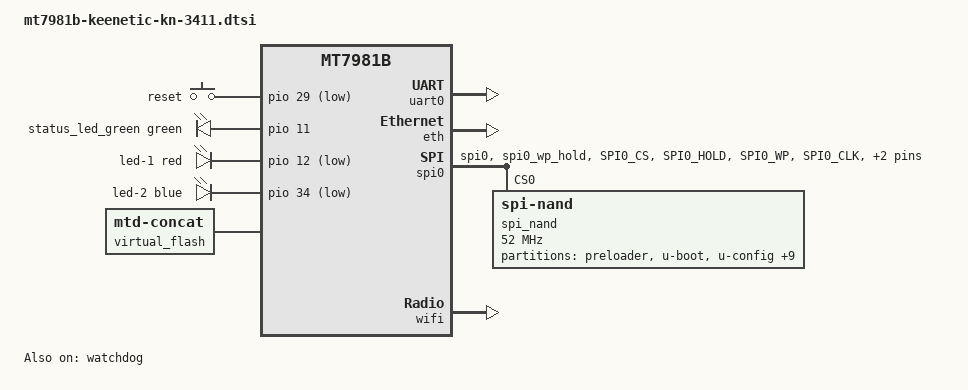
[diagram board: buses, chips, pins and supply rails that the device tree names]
// SPDX-License-Identifier: GPL-2.0-only OR MIT

/dts-v1/;

#include "mt7981b.dtsi"

/ {
	aliases {
		label-mac-device = &gmac1;
		led-boot = &status_led_green;
		led-failsafe = &status_led_green;
		led-running = &status_led_green;
		led-upgrade = &status_led_green;
		serial0 = &uart0;
	};

	chosen {
		stdout-path = "serial0:115200n8";
	};

	gpio-keys {
		compatible = "gpio-keys";

		button-reset {
			label = "reset";
			linux,code = <KEY_RESTART>;
			gpios = <&pio 29 GPIO_ACTIVE_LOW>;
		};
	};

	/*
	 * LED and button GPIOs verified on a KN-3411 (Buddy 6) over the serial
	 * console: each LED lit in its labelled colour when toggled, pressing
	 * the reset button on GPIO 29 (KEY_RESTART) rebooted the board, and the
	 * factory MAC matched. The vendor firmware ships no board GPIO map - the
	 * Keenetic "phr" driver reads a /phr-pins node that U-Boot injects at
	 * runtime from a per-unit NAND partition - so this had to be confirmed
	 * on hardware rather than read out of any firmware image.
	 */
	gpio-leds {
		compatible = "gpio-leds";

		status_led_green: led-0 {
			color = <LED_COLOR_ID_GREEN>;
			function = LED_FUNCTION_STATUS;
			gpios = <&pio 11 GPIO_ACTIVE_HIGH>;
		};

		led-1 {
			color = <LED_COLOR_ID_RED>;
			function = LED_FUNCTION_WLAN_2GHZ;
			gpios = <&pio 12 GPIO_ACTIVE_LOW>;
			linux,default-trigger = "phy0tpt";
		};

		led-2 {
			color = <LED_COLOR_ID_BLUE>;
			function = LED_FUNCTION_WLAN_5GHZ;
			gpios = <&pio 34 GPIO_ACTIVE_LOW>;
			linux,default-trigger = "phy1tpt";
		};
	};

	virtual_flash {
		compatible = "mtd-concat";
		devices = <&firmware1 &firmware2>;

		partitions {
			compatible = "fixed-partitions";
			#address-cells = <1>;
			#size-cells = <1>;

			partition@0 {
				label = "kernel";
				reg = <0x0 0x600000>;
			};

			partition@600000 {
				label = "ubi";
				reg = <0x600000 0x0>;
			};
		};
	};
};

&uart0 {
	status = "okay";
};

&watchdog {
	status = "okay";
};

&eth {
	status = "okay";

	gmac1: mac@1 {
		compatible = "mediatek,eth-mac";
		reg = <1>;
		phy-mode = "gmii";
		phy-handle = <&int_gbe_phy>;

		nvmem-cell-names = "mac-address";
		nvmem-cells = <&macaddr_factory_4>;
	};
};

&pio {
	spi0_flash_pins: spi0-pins {
		mux {
			function = "spi";
			groups = "spi0", "spi0_wp_hold";
		};

		conf-pu {
			pins = "SPI0_CS", "SPI0_HOLD", "SPI0_WP";
			drive-strength = <MTK_DRIVE_8mA>;
			bias-pull-up = <MTK_PUPD_SET_R1R0_11>;
		};

		conf-pd {
			pins = "SPI0_CLK", "SPI0_MOSI", "SPI0_MISO";
			drive-strength = <MTK_DRIVE_8mA>;
			bias-pull-down = <MTK_PUPD_SET_R1R0_11>;
		};
	};
};

&spi0 {
	pinctrl-names = "default";
	pinctrl-0 = <&spi0_flash_pins>;
	status = "okay";

	/* Winbond W25N01GV (128 MiB) */
	spi_nand@0 {
		compatible = "spi-nand";
		reg = <0>;

		spi-max-frequency = <52000000>;
		spi-tx-buswidth = <4>;
		spi-rx-buswidth = <4>;

		mediatek,nmbm;
		mediatek,bmt-max-ratio = <1>;
		mediatek,bmt-max-reserved-blocks = <64>;

		partitions {
			compatible = "fixed-partitions";
			#address-cells = <1>;
			#size-cells = <1>;

			/* bl2 */
			partition@0 {
				label = "preloader";
				reg = <0x0 0x80000>;
				read-only;
			};

			/* fip */
			partition@80000 {
				label = "u-boot";
				reg = <0x80000 0x200000>;
				read-only;
			};

			partition@280000 {
				label = "u-config";
				reg = <0x280000 0x80000>;
				read-only;
			};

			partition@300000 {
				label = "rf-eeprom";
				reg = <0x300000 0x200000>;
				read-only;

				nvmem-layout {
					compatible = "fixed-layout";
					#address-cells = <1>;
					#size-cells = <1>;

					eeprom_factory_0: eeprom@0 {
						reg = <0x0 0x1000>;
					};

					macaddr_factory_4: macaddr@4 {
						reg = <0x4 0x6>;
					};
				};
			};

			firmware1: partition@500000 {
				label = "firmware_1";
				reg = <0x500000 0x3500000>;
			};

			partition@3a00000 {
				label = "config_1";
				reg = <0x3a00000 0x80000>;
				read-only;
			};

			partition@3a80000 {
				label = "dump";
				reg = <0x3a80000 0x80000>;
				read-only;
			};

			partition@3c00000 {
				label = "u-state";
				reg = <0x3c00000 0x20000>;
				read-only;
			};

			partition@3e80000 {
				label = "u-config_res";
				reg = <0x3e80000 0x80000>;
				read-only;
			};

			partition@3f00000 {
				label = "rf-eeprom_res";
				reg = <0x3f00000 0x200000>;
				read-only;
			};

			firmware2: partition@4100000 {
				label = "firmware_2";
				reg = <0x4100000 0x3500000>;
			};

			partition@7600000 {
				label = "config_2";
				reg = <0x7600000 0x80000>;
				read-only;
			};
		};
	};
};

&wifi {
	nvmem-cell-names = "eeprom";
	nvmem-cells = <&eeprom_factory_0>;
	status = "okay";
};
